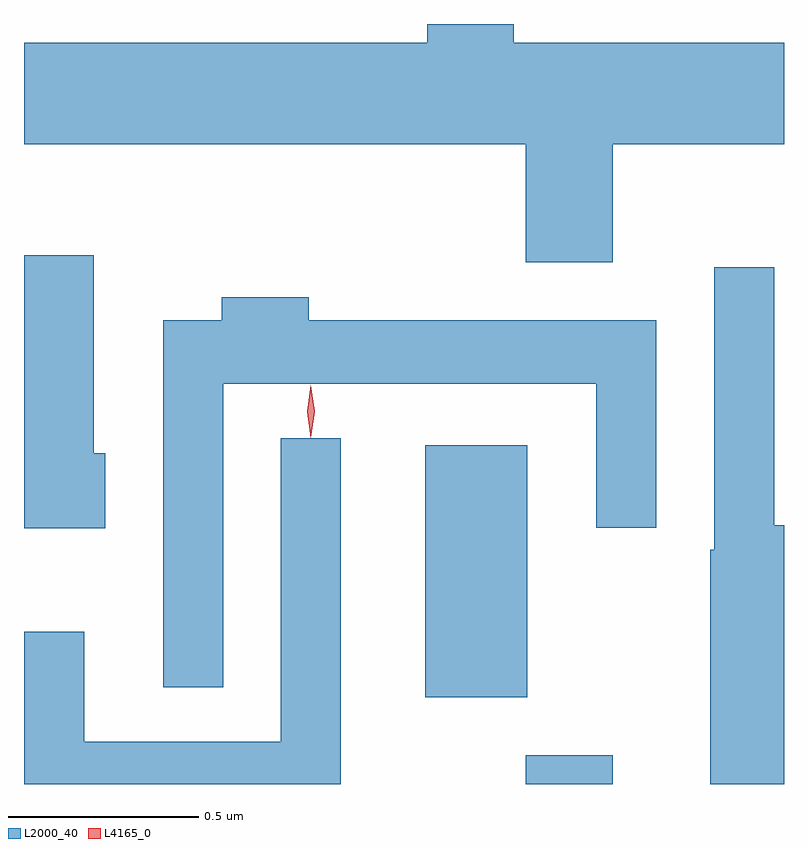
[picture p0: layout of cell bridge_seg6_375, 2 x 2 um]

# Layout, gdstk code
import gdstk
lib = gdstk.Library(unit=1e-6, precision=1e-09)
def R(c, l, rs):  # rectangles x0, y0, x1, y1
    for r in rs: c.add(gdstk.rectangle(r[:2], r[2:], *l))
def P(c, l, *ps):  # polygons
    for p in ps: c.add(gdstk.Polygon(p, *l))
L2000_40 = (2000, 40)
L4165_0 = (4165, 0)

bridge_seg6_375 = lib.new_cell('bridge_seg6_375')
R(bridge_seg6_375, L2000_40, [(1288.891,1537.253,1289.119,1537.329), (1288.626,1537.481,1288.894,1538.144)])
P(bridge_seg6_375, L2000_40, [(1289.119,1538.936),(1289.57,1538.936),(1289.57,1539.204),(1288.859,1539.204),(1288.859,1539.253),(1288.631,1539.253),(1288.631,1539.204),(1287.57,1539.204),(1287.57,1538.936),(1288.891,1538.936),(1288.891,1538.626),(1289.119,1538.626)],
  [(1287.784,1538.124),(1287.754,1538.124),(1287.754,1538.644),(1287.57,1538.644),(1287.57,1537.926),(1287.784,1537.926)],
  [(1289.57,1537.934),(1289.544,1537.934),(1289.544,1538.613),(1289.386,1538.613),(1289.386,1537.87),(1289.376,1537.87),(1289.376,1537.253),(1289.57,1537.253)],
  [(1288.094,1538.306),(1289.076,1538.306),(1289.076,1537.928),(1289.234,1537.928),(1289.234,1538.474),(1288.319,1538.474),(1288.319,1538.534),(1288.091,1538.534),(1288.091,1538.474),(1287.936,1538.474),(1287.936,1537.508),(1288.094,1537.508)],
  [(1288.404,1538.163),(1288.246,1538.163),(1288.246,1537.364),(1287.729,1537.364),(1287.729,1537.654),(1287.57,1537.654),(1287.57,1537.486),(1287.571,1537.486),(1287.571,1537.253),(1288.404,1537.253)])
P(bridge_seg6_375, L4165_0, [(1288.324,1538.164),(1288.315,1538.233),(1288.324,1538.302),(1288.325,1538.303),(1288.325,1538.302),(1288.335,1538.233),(1288.325,1538.164),(1288.325,1538.164)],
  [(1288.324,1538.167),(1288.315,1538.234),(1288.324,1538.3),(1288.325,1538.301),(1288.325,1538.3),(1288.335,1538.234),(1288.325,1538.167),(1288.325,1538.167)])

lib.write_gds('bridge_seg6_375.gds')
